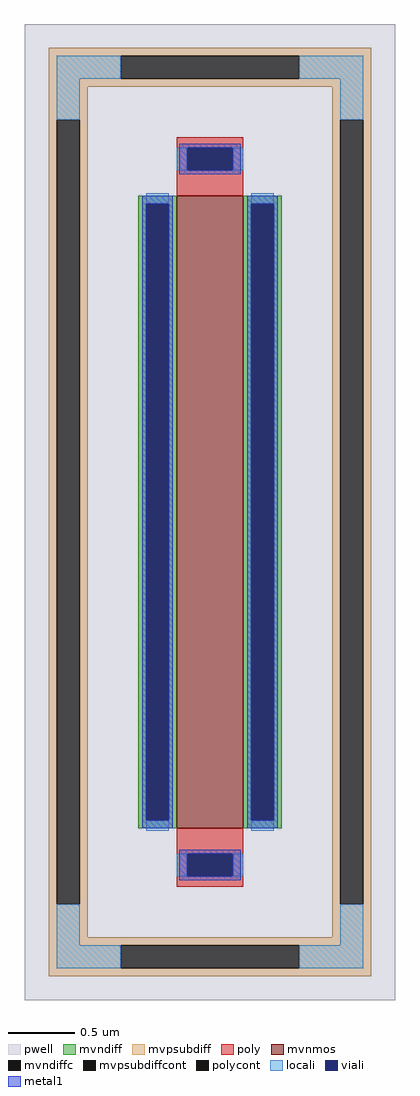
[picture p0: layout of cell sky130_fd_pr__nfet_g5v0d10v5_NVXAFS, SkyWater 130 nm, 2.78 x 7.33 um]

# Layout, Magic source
magic
tech sky130A
magscale 1 2
<< pwell >>
rect -278 -733 278 733
<< mvnmos >>
rect -50 -475 50 475
<< mvndiff >>
rect -108 463 -50 475
rect -108 -463 -96 463
rect -62 -463 -50 463
rect -108 -475 -50 -463
rect 50 463 108 475
rect 50 -463 62 463
rect 96 -463 108 463
rect 50 -475 108 -463
<< mvndiffc >>
rect -96 -463 -62 463
rect 62 -463 96 463
<< mvpsubdiff >>
rect -242 685 242 697
rect -242 651 -134 685
rect 134 651 242 685
rect -242 639 242 651
rect -242 589 -184 639
rect -242 -589 -230 589
rect -196 -589 -184 589
rect 184 589 242 639
rect -242 -639 -184 -589
rect 184 -589 196 589
rect 230 -589 242 589
rect 184 -639 242 -589
rect -242 -651 242 -639
rect -242 -685 -134 -651
rect 134 -685 242 -651
rect -242 -697 242 -685
<< mvpsubdiffcont >>
rect -134 651 134 685
rect -230 -589 -196 589
rect 196 -589 230 589
rect -134 -685 134 -651
<< poly >>
rect -50 547 50 563
rect -50 513 -34 547
rect 34 513 50 547
rect -50 475 50 513
rect -50 -513 50 -475
rect -50 -547 -34 -513
rect 34 -547 50 -513
rect -50 -563 50 -547
<< polycont >>
rect -34 513 34 547
rect -34 -547 34 -513
<< locali >>
rect -230 651 -134 685
rect 134 651 230 685
rect -230 589 -196 651
rect 196 589 230 651
rect -50 513 -34 547
rect 34 513 50 547
rect -96 463 -62 479
rect -96 -479 -62 -463
rect 62 463 96 479
rect 62 -479 96 -463
rect -50 -547 -34 -513
rect 34 -547 50 -513
rect -230 -651 -196 -589
rect 196 -651 230 -589
rect -230 -685 -134 -651
rect 134 -685 230 -651
<< viali >>
rect -34 513 34 547
rect -96 -463 -62 463
rect 62 -463 96 463
rect -34 -547 34 -513
<< metal1 >>
rect -46 547 46 553
rect -46 513 -34 547
rect 34 513 46 547
rect -46 507 46 513
rect -102 463 -56 475
rect -102 -463 -96 463
rect -62 -463 -56 463
rect -102 -475 -56 -463
rect 56 463 102 475
rect 56 -463 62 463
rect 96 -463 102 463
rect 56 -475 102 -463
rect -46 -513 46 -507
rect -46 -547 -34 -513
rect 34 -547 46 -513
rect -46 -553 46 -547
<< properties >>
string FIXED_BBOX -213 -668 213 668
string gencell sky130_fd_pr__nfet_g5v0d10v5
string library sky130
string parameters w 4.75 l 0.5 m 1 nf 1 diffcov 100 polycov 100 guard 1 glc 1 grc 1 gtc 1 gbc 1 tbcov 100 rlcov 100 topc 1 botc 1 poverlap 0 doverlap 1 lmin 0.50 wmin 0.42 class mosfet compatible {sky130_fd_pr__nfet_01v8 sky130_fd_pr__nfet_01v8_lvt  sky130_fd_bs_flash__special_sonosfet_star  sky130_fd_pr__nfet_g5v0d10v5 sky130_fd_pr__nfet_05v0_nvt  sky130_fd_pr__nfet_03v3_nvt} full_metal 1 viasrc 100 viadrn 100 viagate 100 viagb 0 viagr 0 viagl 0 viagt 0
<< end >>
